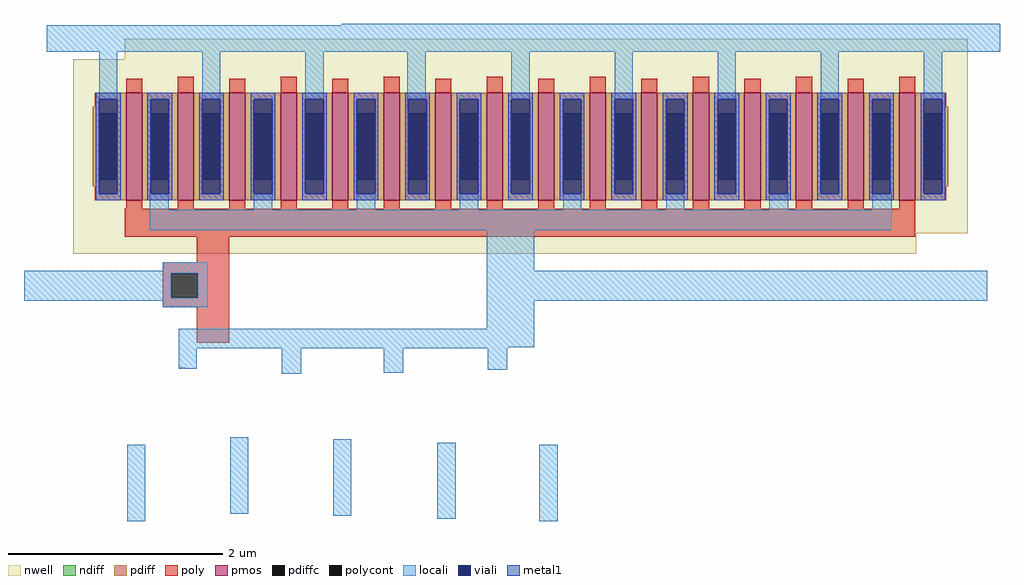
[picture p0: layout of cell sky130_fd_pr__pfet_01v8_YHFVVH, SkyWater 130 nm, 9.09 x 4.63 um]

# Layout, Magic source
magic
tech sky130A
magscale 1 2
<< nwell >>
rect -737 162 833 200
rect -833 -162 833 162
rect -833 -200 737 -162
<< pmos >>
rect -735 -100 -705 100
rect -639 -100 -609 100
rect -543 -100 -513 100
rect -447 -100 -417 100
rect -351 -100 -321 100
rect -255 -100 -225 100
rect -159 -100 -129 100
rect -63 -100 -33 100
rect 33 -100 63 100
rect 129 -100 159 100
rect 225 -100 255 100
rect 321 -100 351 100
rect 417 -100 447 100
rect 513 -100 543 100
rect 609 -100 639 100
rect 705 -100 735 100
<< ndiff >>
rect -637 -414 -625 -412
<< pdiff >>
rect -793 74 -735 100
rect -797 62 -735 74
rect -797 -62 -785 62
rect -751 -62 -735 62
rect -797 -74 -735 -62
rect -793 -100 -735 -74
rect -705 62 -639 100
rect -705 -62 -689 62
rect -655 -62 -639 62
rect -705 -100 -639 -62
rect -609 62 -543 100
rect -609 -62 -593 62
rect -559 -62 -543 62
rect -609 -100 -543 -62
rect -513 62 -447 100
rect -513 -62 -497 62
rect -463 -62 -447 62
rect -513 -100 -447 -62
rect -417 62 -351 100
rect -417 -62 -401 62
rect -367 -62 -351 62
rect -417 -100 -351 -62
rect -321 62 -255 100
rect -321 -62 -305 62
rect -271 -62 -255 62
rect -321 -100 -255 -62
rect -225 62 -159 100
rect -225 -62 -209 62
rect -175 -62 -159 62
rect -225 -100 -159 -62
rect -129 62 -63 100
rect -129 -62 -113 62
rect -79 -62 -63 62
rect -129 -100 -63 -62
rect -33 62 33 100
rect -33 -62 -17 62
rect 17 -62 33 62
rect -33 -100 33 -62
rect 63 62 129 100
rect 63 -62 79 62
rect 113 -62 129 62
rect 63 -100 129 -62
rect 159 62 225 100
rect 159 -62 175 62
rect 209 -62 225 62
rect 159 -100 225 -62
rect 255 62 321 100
rect 255 -62 271 62
rect 305 -62 321 62
rect 255 -100 321 -62
rect 351 62 417 100
rect 351 -62 367 62
rect 401 -62 417 62
rect 351 -100 417 -62
rect 447 62 513 100
rect 447 -62 463 62
rect 497 -62 513 62
rect 447 -100 513 -62
rect 543 62 609 100
rect 543 -62 559 62
rect 593 -62 609 62
rect 543 -100 609 -62
rect 639 62 705 100
rect 639 -62 655 62
rect 689 -62 705 62
rect 639 -100 705 -62
rect 735 74 793 100
rect 735 62 797 74
rect 735 -62 751 62
rect 785 -62 797 62
rect 735 -74 797 -62
rect 735 -100 793 -74
<< pdiffc >>
rect -785 -62 -751 62
rect -689 -62 -655 62
rect -593 -62 -559 62
rect -497 -62 -463 62
rect -401 -62 -367 62
rect -305 -62 -271 62
rect -209 -62 -175 62
rect -113 -62 -79 62
rect -17 -62 17 62
rect 79 -62 113 62
rect 175 -62 209 62
rect 271 -62 305 62
rect 367 -62 401 62
rect 463 -62 497 62
rect 559 -62 593 62
rect 655 -62 689 62
rect 751 -62 785 62
<< poly >>
rect -735 100 -705 126
rect -639 100 -609 130
rect -543 100 -513 126
rect -447 100 -417 130
rect -351 100 -321 126
rect -255 100 -225 130
rect -159 100 -129 126
rect -63 100 -33 130
rect 33 100 63 126
rect 129 100 159 130
rect 225 100 255 126
rect 321 100 351 130
rect 417 100 447 126
rect 513 100 543 130
rect 609 100 639 126
rect 705 100 735 130
rect -735 -116 -705 -100
rect -639 -116 -609 -100
rect -543 -116 -513 -100
rect -447 -116 -417 -100
rect -351 -116 -321 -100
rect -255 -116 -225 -100
rect -159 -116 -129 -100
rect -63 -116 -33 -100
rect 33 -116 63 -100
rect 129 -116 159 -100
rect 225 -116 255 -100
rect 321 -116 351 -100
rect 417 -116 447 -100
rect 513 -116 543 -100
rect 609 -116 639 -100
rect 705 -116 735 -100
rect -737 -168 735 -116
rect -603 -216 -543 -168
rect -667 -236 -543 -216
rect -667 -282 -651 -236
rect -601 -282 -543 -236
rect -667 -300 -543 -282
rect -603 -366 -543 -300
<< polycont >>
rect -651 -282 -601 -236
<< locali >>
rect -333 226 893 228
rect -883 176 893 226
rect -785 88 -751 176
rect -593 88 -559 176
rect -401 88 -367 176
rect -211 88 -177 176
rect -17 88 17 176
rect 175 88 209 176
rect 367 88 401 176
rect 559 88 593 176
rect 751 88 785 176
rect -691 -88 -689 -78
rect -211 68 -209 88
rect 497 -88 499 -84
rect 689 -88 691 -84
rect -691 -118 -655 -88
rect -497 -118 -463 -88
rect -305 -118 -271 -88
rect -113 -118 -79 -88
rect 79 -118 113 -88
rect 271 -118 305 -88
rect 463 -118 499 -88
rect 655 -118 691 -88
rect -691 -156 691 -118
rect -667 -232 -583 -216
rect -925 -236 -583 -232
rect -925 -282 -651 -236
rect -601 -282 -583 -236
rect -925 -288 -583 -282
rect -667 -300 -583 -288
rect -63 -232 25 -156
rect -63 -288 869 -232
rect -63 -340 25 -288
rect -637 -374 25 -340
rect -637 -376 -23 -374
rect -637 -414 -603 -376
rect -445 -424 -409 -376
rect -255 -422 -219 -376
rect -61 -416 -25 -376
rect -733 -698 -699 -556
rect -541 -684 -507 -542
rect -349 -688 -315 -546
rect -155 -694 -121 -552
rect 35 -698 69 -556
<< viali >>
rect -785 62 -751 88
rect -785 -62 -751 62
rect -785 -88 -751 -62
rect -689 62 -655 88
rect -689 -62 -655 62
rect -689 -88 -655 -62
rect -593 62 -559 88
rect -593 -62 -559 62
rect -593 -88 -559 -62
rect -497 62 -463 88
rect -497 -62 -463 62
rect -497 -88 -463 -62
rect -401 62 -367 88
rect -401 -62 -367 62
rect -401 -88 -367 -62
rect -305 62 -271 88
rect -305 -62 -271 62
rect -305 -88 -271 -62
rect -209 62 -175 88
rect -209 -62 -175 62
rect -209 -88 -175 -62
rect -113 62 -79 88
rect -113 -62 -79 62
rect -113 -88 -79 -62
rect -17 62 17 88
rect -17 -62 17 62
rect -17 -88 17 -62
rect 79 62 113 88
rect 79 -62 113 62
rect 79 -88 113 -62
rect 175 62 209 88
rect 175 -62 209 62
rect 175 -88 209 -62
rect 271 62 305 88
rect 271 -62 305 62
rect 271 -88 305 -62
rect 367 62 401 88
rect 367 -62 401 62
rect 367 -88 401 -62
rect 463 62 497 88
rect 463 -62 497 62
rect 463 -88 497 -62
rect 559 62 593 88
rect 559 -62 593 62
rect 559 -88 593 -62
rect 655 62 689 88
rect 655 -62 689 62
rect 655 -88 689 -62
rect 751 62 785 88
rect 751 -62 785 62
rect 751 -88 785 -62
<< metal1 >>
rect -791 88 -745 100
rect -791 -88 -785 88
rect -751 -88 -745 88
rect -791 -100 -745 -88
rect -695 88 -649 100
rect -695 -88 -689 88
rect -655 -88 -649 88
rect -695 -100 -649 -88
rect -599 88 -553 100
rect -599 -88 -593 88
rect -559 -88 -553 88
rect -599 -100 -553 -88
rect -503 88 -457 100
rect -503 -88 -497 88
rect -463 -88 -457 88
rect -503 -100 -457 -88
rect -407 88 -361 100
rect -407 -88 -401 88
rect -367 -88 -361 88
rect -407 -100 -361 -88
rect -311 88 -265 100
rect -311 -88 -305 88
rect -271 -88 -265 88
rect -311 -100 -265 -88
rect -215 88 -169 100
rect -215 -88 -209 88
rect -175 -88 -169 88
rect -215 -100 -169 -88
rect -119 88 -73 100
rect -119 -88 -113 88
rect -79 -88 -73 88
rect -119 -100 -73 -88
rect -23 88 23 100
rect -23 -88 -17 88
rect 17 -88 23 88
rect -23 -100 23 -88
rect 73 88 119 100
rect 73 -88 79 88
rect 113 -88 119 88
rect 73 -100 119 -88
rect 169 88 215 100
rect 169 -88 175 88
rect 209 -88 215 88
rect 169 -100 215 -88
rect 265 88 311 100
rect 265 -88 271 88
rect 305 -88 311 88
rect 265 -100 311 -88
rect 361 88 407 100
rect 361 -88 367 88
rect 401 -88 407 88
rect 361 -100 407 -88
rect 457 88 503 100
rect 457 -88 463 88
rect 497 -88 503 88
rect 457 -100 503 -88
rect 553 88 599 100
rect 553 -88 559 88
rect 593 -88 599 88
rect 553 -100 599 -88
rect 649 88 695 100
rect 649 -88 655 88
rect 689 -88 695 88
rect 649 -100 695 -88
rect 745 88 791 100
rect 745 -88 751 88
rect 785 -88 791 88
rect 745 -100 791 -88
<< properties >>
string gencell sky130_fd_pr__pfet_01v8
string library sky130
string parameters w 1 l 0.15 m 1 nf 16 diffcov 70 polycov 70 guard 0 glc 0 grc 0 gtc 0 gbc 0 tbcov 70 rlcov 70 topc 0 botc 0 poverlap 0 doverlap 1 lmin 0.15 wmin 0.42 compatible {sky130_fd_pr__pfet_01v8  sky130_fd_pr__pfet_01v8_lvt sky130_fd_pr__pfet_01v8_hvt  sky130_fd_pr__pfet_g5v0d10v5} full_metal 0 viasrc 100 viadrn 100 viagate 100 viagb 0 viagr 0 viagl 0 viagt 0
<< end >>
